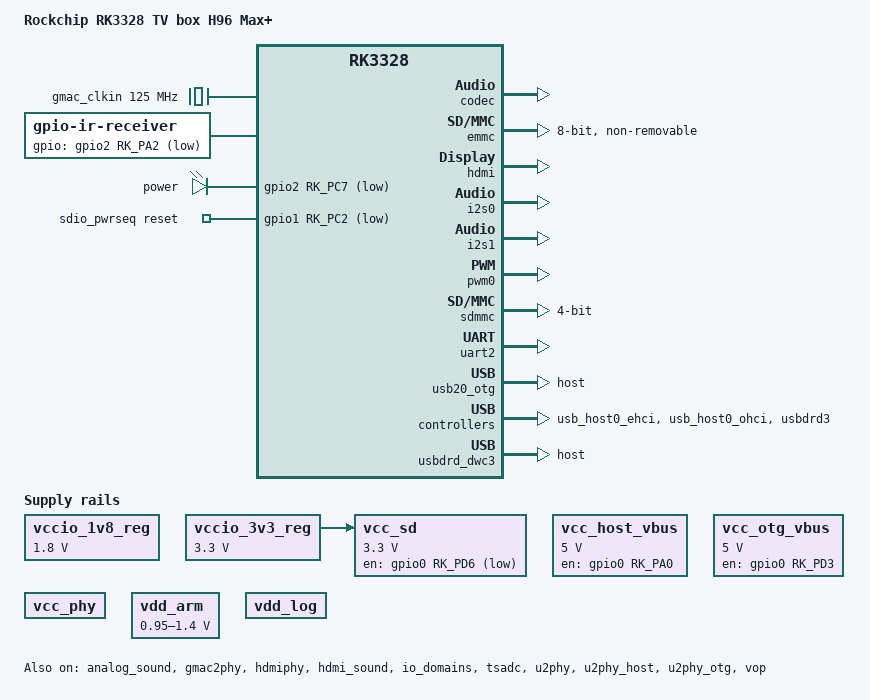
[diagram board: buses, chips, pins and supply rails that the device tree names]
// SPDX-License-Identifier: (GPL-2.0+ OR MIT)
/*
 * Copyright (c) 2020 Ezra Buehler
 */

/dts-v1/;
#include "rk3328.dtsi"

/ {
	model = "Rockchip RK3328 TV box H96 Max+";
	compatible = "rockchip,rk3328-box-h96mp", "rockchip,rk3328";

	gmac_clkin: external-gmac-clock {
		compatible = "fixed-clock";
		clock-frequency = <125000000>;
		clock-output-names = "gmac_clkin";
		#clock-cells = <0>;
	};

	gpu_opp_table: gpu-opp-table {
		compatible = "operating-points-v2";
		nvmem-cells = <&logic_leakage>;
		nvmem-cell-names = "gpu_leakage";

		opp-200000000 {
			opp-hz = /bits/ 64 <200000000>;
			opp-microvolt = <925000>;
			opp-microvolt-L0 = <925000>;
			opp-microvolt-L1 = <900000>;
		};

		opp-300000000 {
			opp-hz = /bits/ 64 <300000000>;
			opp-microvolt = <975000>;
			opp-microvolt-L0 = <975000>;
			opp-microvolt-L1 = <950000>;
		};

		opp-400000000 {
			opp-hz = /bits/ 64 <400000000>;
			opp-microvolt = <1050000>;
			opp-microvolt-L0 = <1050000>;
			opp-microvolt-L1 = <1025000>;
		};

		opp-500000000 {
			opp-hz = /bits/ 64 <500000000>;
			opp-microvolt = <1125000>;
			opp-microvolt-L0 = <1125000>;
			opp-microvolt-L1 = <1100000>;
		};
	};

	ir-receiver {
		compatible = "gpio-ir-receiver";
		gpios = <&gpio2 RK_PA2 GPIO_ACTIVE_LOW>;
		linux,rc-map-name = "rc-x96max";
		pinctrl-names = "default";
		pinctrl-0 = <&ir_int>;
	};

	leds {
		compatible = "gpio-leds";

		power {
			gpios = <&gpio2 RK_PC7 GPIO_ACTIVE_LOW>;
			default-state = "on";
		};
	};

	regulators {
		compatible = "simple-bus";
		#address-cells = <1>;
		#size-cells = <0>;

		vccio_1v8_reg: regulator@0 {
			compatible = "regulator-fixed";
			regulator-always-on;
			regulator-max-microvolt = <1800000>;
			regulator-min-microvolt = <1800000>;
			regulator-name = "vccio_1v8";
		};

		vccio_3v3_reg: regulator@1 {
			compatible = "regulator-fixed";
			regulator-always-on;
			regulator-max-microvolt = <3300000>;
			regulator-min-microvolt = <3300000>;
			regulator-name = "vccio_3v3";
		};
	};

	sdio_pwrseq: sdio-pwrseq {
		compatible = "mmc-pwrseq-simple";
		pinctrl-names = "default";
		pinctrl-0 = <&wifi_enable_h>;
		reset-gpios = <&gpio1 RK_PC2 GPIO_ACTIVE_LOW>;
	};

	vcc_host_vbus: host-vbus-regulator {
		compatible = "regulator-fixed";
		enable-active-high;
		gpio = <&gpio0 RK_PA0 GPIO_ACTIVE_HIGH>;
		pinctrl-names = "default";
		pinctrl-0 = <&host_vbus_drv>;
		regulator-max-microvolt = <5000000>;
		regulator-min-microvolt = <5000000>;
		regulator-name = "vcc_host_vbus";
	};

	vcc_otg_vbus: otg-vbus-regulator {
		compatible = "regulator-fixed";
		enable-active-high;
		gpio = <&gpio0 RK_PD3 GPIO_ACTIVE_HIGH>;
		pinctrl-names = "default";
		pinctrl-0 = <&otg_vbus_drv>;
		regulator-max-microvolt = <5000000>;
		regulator-min-microvolt = <5000000>;
		regulator-name = "vcc_otg_vbus";
	};

	vcc_phy: vcc-phy-regulator {
		compatible = "regulator-fixed";
		regulator-always-on;
		regulator-boot-on;
		regulator-name = "vcc_phy";
	};

	vcc_sd: sdmmc-regulator {
		compatible = "regulator-fixed";
		gpio = <&gpio0 RK_PD6 GPIO_ACTIVE_LOW>;
		pinctrl-names = "default";
		pinctrl-0 = <&sdmmc0m1_gpio>;
		regulator-max-microvolt = <3300000>;
		regulator-min-microvolt = <3300000>;
		regulator-name = "vcc_sd";
		vin-supply = <&vccio_3v3_reg>;
	};

	vdd_arm: vdd-center {
		compatible = "pwm-regulator";
		pwms = <&pwm0 0 5000 1>;
		regulator-always-on;
		regulator-boot-on;
		regulator-max-microvolt = <1400000>;
		regulator-min-microvolt = <950000>;
		regulator-name = "vdd_arm";
	};

	// Hack until we have devfreq for the GPU
	vdd_log: vdd-log {
		compatible = "regulator-fixed";
		regulator-always-on;
		regulator-boot-on;
		regulator-name = "vdd_log";
	};
#if 0
	vdd_log: vdd-log {
		compatible = "pwm-regulator";
		pwms = <&pwm1 0 5000 1>;
		regulator-always-on;
		regulator-boot-on;
		regulator-max-microvolt = <1300000>;
		regulator-min-microvolt = <900000>;
		regulator-name = "vdd_log";
	};
#endif
};

&analog_sound {
	status = "okay";
};

&codec {
	status = "okay";
};

&cpu0 {
	cpu-supply = <&vdd_arm>;
};

&cpu0_opp_table {
	opp-408000000 {
		opp-hz = /bits/ 64 <408000000>;
		opp-microvolt = <975000 975000 1375000>;
		opp-microvolt-L0 = <975000 975000 1375000>;
		opp-microvolt-L1 = <975000 975000 1375000>;
		clock-latency-ns = <40000>;
		opp-suspend;
	};

	opp-600000000 {
		opp-hz = /bits/ 64 <600000000>;
		opp-microvolt = <1000000 1000000 1375000>;
		opp-microvolt-L0 = <1000000 1000000 1375000>;
		opp-microvolt-L1 = <1000000 1000000 1375000>;
		clock-latency-ns = <40000>;
	};

	opp-816000000 {
		opp-hz = /bits/ 64 <816000000>;
		opp-microvolt = <1100000 1100000 1375000>;
		opp-microvolt-L0 = <1100000 1100000 1375000>;
		opp-microvolt-L1 = <1050000 1050000 1375000>;
		clock-latency-ns = <40000>;
	};

	opp-1008000000 {
		opp-hz = /bits/ 64 <1008000000>;
		opp-microvolt = <1200000 1200000 1375000>;
		opp-microvolt-L0 = <1200000 1200000 1375000>;
		opp-microvolt-L1 = <1150000 1150000 1375000>;
		clock-latency-ns = <40000>;
	};

	opp-1200000000 {
		opp-hz = /bits/ 64 <1200000000>;
		opp-microvolt = <1350000 1350000 1375000>;
		opp-microvolt-L0 = <1350000 1350000 1375000>;
		opp-microvolt-L1 = <1300000 1300000 1375000>;
		clock-latency-ns = <40000>;
	};

	opp-1296000000 {
		opp-hz = /bits/ 64 <1296000000>;
		opp-microvolt = <1375000 1375000 1375000>;
		opp-microvolt-L0 = <1375000 1375000 1375000>;
		opp-microvolt-L1 = <1350000 1350000 1375000>;
		clock-latency-ns = <40000>;
	};
};

&cpu1 {
	cpu-supply = <&vdd_arm>;
};

&cpu2 {
	cpu-supply = <&vdd_arm>;
};

&cpu3 {
	cpu-supply = <&vdd_arm>;
};

&emmc {
	bus-width = <8>;
	cap-mmc-highspeed;
	mmc-ddr-1_8v;
	mmc-hs200-1_8v;
	non-removable;
	pinctrl-names = "default";
	pinctrl-0 = <&emmc_clk &emmc_cmd &emmc_bus8>;
	status = "okay";
};

&gmac2phy {
	assigned-clock-parents = <&cru SCLK_MAC2PHY_SRC>;
	assigned-clock-rate = <50000000>;
	assigned-clocks = <&cru SCLK_MAC2PHY>;
	assigned-clocks = <&cru SCLK_MAC2PHY_SRC>;
	clock_in_out = "output";
	phy-supply = <&vcc_phy>;
	status = "okay";
};

&gpu {
	mali-supply = <&vdd_log>;
	operating-points-v2 = <&gpu_opp_table>;

	power_model {
		compatible = "arm,mali-simple-power-model";
		dynamic-power = <396>;
		frequency = <500>;
		static-power = <300>;
		thermal-zone = "soc-thermal";
		ts = <0x7d00 0x125c 0xffffffb0 0x02>;
		voltage = <900>;
	};
};

&hdmi {
	status = "okay";
};

&hdmiphy {
	status = "okay";
};

&hdmi_sound {
	status = "okay";
};

&i2s0 {
	status = "okay";
};

&i2s1 {
	status = "okay";
};

&io_domains {
	vccio1-supply = <&vccio_3v3_reg>;
	vccio2-supply = <&vccio_1v8_reg>;
	vccio3-supply = <&vccio_3v3_reg>;
	vccio4-supply = <&vccio_1v8_reg>;
	vccio5-supply = <&vccio_3v3_reg>;
	vccio6-supply = <&vccio_3v3_reg>;
	pmuio-supply = <&vccio_3v3_reg>;
	status = "okay";
};

&pinctrl {
	pinctrl-names = "default";
	pinctrl-0 = <&clk_32k_out>;

	clk_32k {
		clk_32k_out: clk-32k-out {
			rockchip,pins = <1 RK_PD4 1 &pcfg_pull_none>;
		};
	};

	ir {
		ir_int: ir-int {
			rockchip,pins = <2 RK_PA2 RK_FUNC_GPIO &pcfg_pull_none>;
		};
	};

	pmic {
		pmic_int_l: pmic-int-l {
			rockchip,pins = <2 RK_PA6 RK_FUNC_GPIO &pcfg_pull_up>;
		};
	};

	sdio-pwrseq {
		wifi_enable_h: wifi-enable-h {
			rockchip,pins = <1 RK_PC2 RK_FUNC_GPIO &pcfg_pull_none>;
		};
	};

	usb {
		host_vbus_drv: host-vbus-drv {
			rockchip,pins = <0 RK_PA0 RK_FUNC_GPIO &pcfg_pull_none>;
		};

		otg_vbus_drv: otg-vbus-drv {
			rockchip,pins = <0 RK_PA2 RK_FUNC_GPIO &pcfg_pull_none>;
		};
	};
};

&pwm0 {
	status = "okay";
};

// Hack until we have devfreq for the GPU
#if 0
&pwm1 {
	status = "okay";
};
#endif

&sdio {
	bus-width = <4>;
	cap-sd-highspeed;
	cap-sdio-irq;
	keep-power-in-suspend;
	mmc-pwrseq = <&sdio_pwrseq>;
	non-removable;
	num-slots = <1>;
	pinctrl-names = "default";
	pinctrl-0 = <&sdmmc1_bus4 &sdmmc1_cmd &sdmmc1_clk>;
	status = "disabled";
};

&sdmmc {
	bus-width = <4>;
	cap-mmc-highspeed;
	cap-sd-highspeed;
	disable-wp;
	pinctrl-names = "default";
	pinctrl-0 = <&sdmmc0_clk &sdmmc0_cmd &sdmmc0_dectn &sdmmc0_bus4>;
	status = "okay";
};

&tsadc {
	rockchip,hw-tshut-mode = <0>;
	rockchip,hw-tshut-polarity = <0>;
	status = "okay";
};

&uart2 {
	status = "okay";
};

&u2phy {
	status = "okay";
};

&u2phy_host {
	status = "okay";
};

&u2phy_otg {
	status = "okay";
};

&usb20_otg {
	dr_mode = "host";
	status = "okay";
};

&usb_host0_ehci {
	status = "okay";
};

&usb_host0_ohci {
	status = "okay";
};

&usbdrd3 {
	status = "okay";
};

&usbdrd_dwc3 {
	dr_mode = "host";
	status = "okay";
};

&vop {
	status = "okay";
};

&vop_mmu {
	status = "okay";
};
